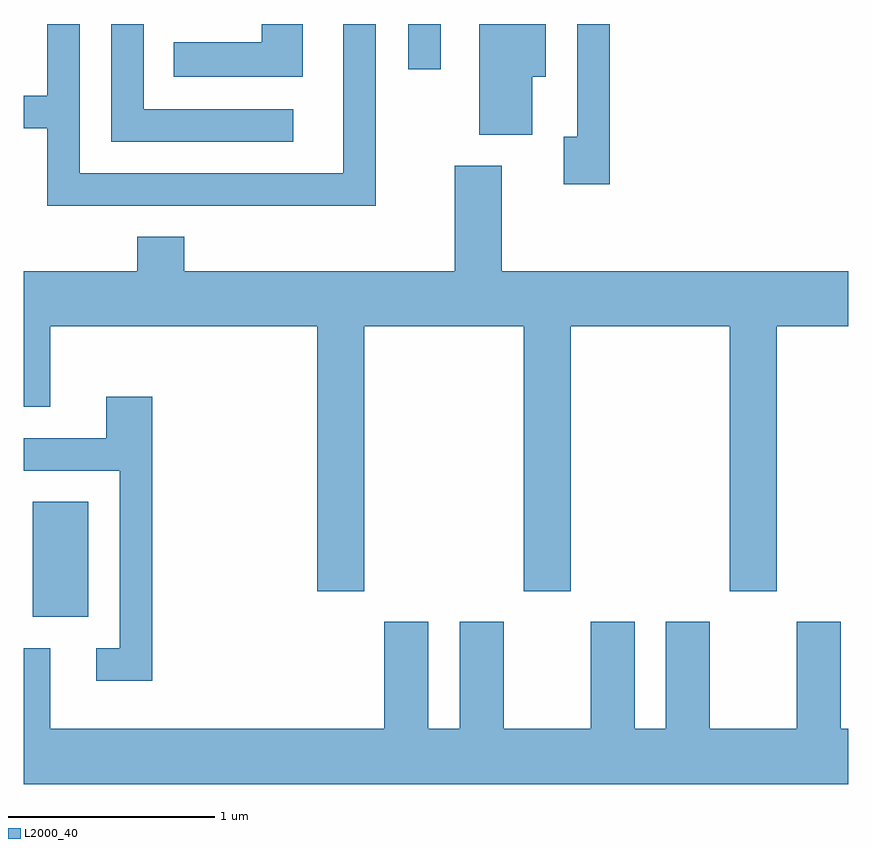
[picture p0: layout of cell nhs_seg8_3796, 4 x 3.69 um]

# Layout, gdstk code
import gdstk
lib = gdstk.Library(unit=1e-6, precision=1e-09)
def R(c, l, rs):  # rectangles x0, y0, x1, y1
    for r in rs: c.add(gdstk.rectangle(r[:2], r[2:], *l))
def P(c, l, *ps):  # polygons
    for p in ps: c.add(gdstk.Polygon(p, *l))
L2000_40 = (2000, 40)

nhs_seg8_3796 = lib.new_cell('nhs_seg8_3796')
R(nhs_seg8_3796, L2000_40, [(299.656,1819.466,299.924,1820.024), (301.476,1822.123,301.634,1822.342)])
P(nhs_seg8_3796, L2000_40, [(300.964,1822.342),(300.766,1822.342),(300.766,1822.254),(300.338,1822.254),(300.338,1822.086),(300.964,1822.086)],
  [(301.319,1822.342),(301.161,1822.342),(301.161,1821.619),(299.884,1821.619),(299.884,1822.342),(299.726,1822.342),(299.726,1821.994),(299.611,1821.994),(299.611,1821.836),(299.726,1821.836),(299.726,1821.461),(301.319,1821.461)],
  [(302.454,1822.342),(302.296,1822.342),(302.296,1821.794),(302.231,1821.794),(302.231,1821.566),(302.454,1821.566)],
  [(302.079,1822.086),(302.144,1822.086),(302.144,1822.342),(301.821,1822.342),(301.821,1821.806),(302.079,1821.806)],
  [(300.918,1821.929),(300.194,1821.929),(300.194,1822.342),(300.036,1822.342),(300.036,1821.771),(300.918,1821.771)],
  [(301.264,1820.876),(302.036,1820.876),(302.036,1819.591),(302.264,1819.591),(302.264,1820.876),(303.036,1820.876),(303.036,1819.591),(303.264,1819.591),(303.264,1820.876),(303.611,1820.876),(303.611,1821.144),(301.929,1821.144),(301.929,1821.654),(301.701,1821.654),(301.701,1821.144),(300.389,1821.144),(300.389,1821.309),(300.161,1821.309),(300.161,1821.144),(299.611,1821.144),(299.611,1820.486),(299.739,1820.486),(299.739,1820.876),(301.036,1820.876),(301.036,1819.591),(301.264,1819.591)],
  [(300.234,1820.534),(300.011,1820.534),(300.011,1820.334),(299.611,1820.334),(299.611,1820.176),(300.076,1820.176),(300.076,1819.314),(299.963,1819.314),(299.963,1819.156),(300.234,1819.156)],
  [(301.361,1819.444),(301.361,1818.924),(299.739,1818.924),(299.739,1819.314),(299.611,1819.314),(299.611,1818.656),(303.611,1818.656),(303.611,1818.924),(303.574,1818.924),(303.574,1819.444),(303.361,1819.444),(303.361,1818.924),(302.939,1818.924),(302.939,1819.444),(302.726,1819.444),(302.726,1818.924),(302.574,1818.924),(302.574,1819.444),(302.361,1819.444),(302.361,1818.924),(301.939,1818.924),(301.939,1819.444),(301.726,1819.444),(301.726,1818.924),(301.574,1818.924),(301.574,1819.444)])

lib.write_gds('nhs_seg8_3796.gds')
